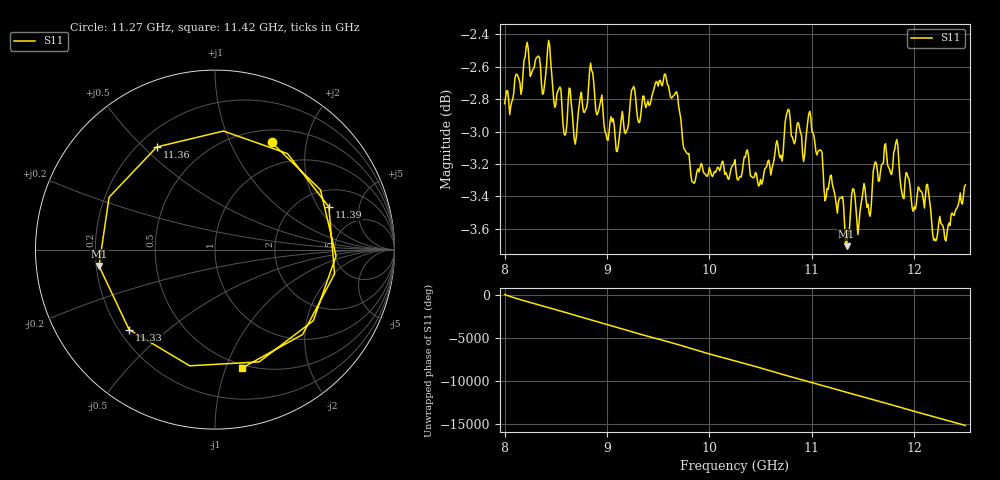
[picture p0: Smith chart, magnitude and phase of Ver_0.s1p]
#  HZ  S  RI  R  50.00
! Rohde & Schwarz Vector Network Analyzer
! Rohde-Schwarz,ZNA43-4Port,1332450044101932,2.92
! Created: UTC 6/9/2026, 6:30:11 AM
! freq[Hz]  re:S11  im:S11
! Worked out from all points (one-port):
!   451 points, 8 GHz to 12.5 GHz, reference 50 ohm
!   lowest |S11| = -3.7 dB at 11.34 GHz (marker M1), VSWR 4.76, Z = 10.6 - j3.36 ohm
!   |S11| at or under -10 dB: nowhere
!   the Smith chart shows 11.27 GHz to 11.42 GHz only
!   S11 on the Smith chart (normalised r, x): 11.27 GHz: 0.66, +1.45; 11.33 GHz: 0.24, -0.37; 11.36 GHz: 0.27, +0.55; 11.39 GHz: 2.84, +2.50; 11.42 GHz: 0.47, -1.14
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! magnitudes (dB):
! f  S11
! 8 GHz  -2.8
! 8.43 GHz  -2.4
! 8.57 GHz  -3.0
! 8.69 GHz  -3.1
! 8.85 GHz  -2.6
! 8.99 GHz  -3.0
! 9.13 GHz  -3.0
! 9.25 GHz  -2.7
! 9.69 GHz  -2.8
! 9.84 GHz  -3.3
! 10.25 GHz  -3.2
! 10.5 GHz  -3.3
! 10.76 GHz  -2.9
! 10.82 GHz  -3.1
! 10.98 GHz  -2.9
! 11.27 GHz  -3.4
! 11.33 GHz  -3.7
! 11.34 GHz  -3.7
! 11.36 GHz  -3.6
! 11.38 GHz  -3.5
! 11.39 GHz  -3.4
! 11.42 GHz  -3.4
! 11.82 GHz  -3.1
! 11.88 GHz  -3.4
! 11.94 GHz  -3.3
! 12.13 GHz  -3.3
! 12.2 GHz  -3.7
! 12.5 GHz  -3.3
